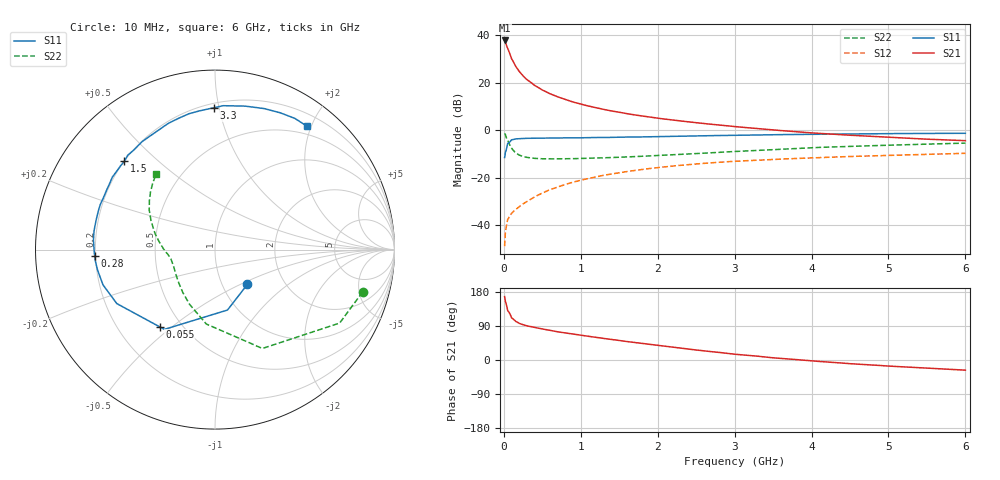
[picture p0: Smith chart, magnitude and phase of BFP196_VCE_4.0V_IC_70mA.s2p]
! Infineon Technologies  Discrete & RF Semiconductors
! BFP196
! VCE = 4.0 V,  IC =  70mA
! Common Emitter S-Parameters:  Jan 2016
# GHz  S  MA  R  50
!  f  S11  S21  S12  S22
! GHz  MAG  ANG  MAG  ANG  MAG  ANG  MAG  ANG
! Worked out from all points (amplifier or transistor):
!   210 points, 10 MHz to 6 GHz, reference 50 ohm
!   highest |S21| = 37.8 dB at 10 MHz (marker M1)
!   |S21| within 3 dB of that: start of sweep to 45.33 MHz
!   unconditionally stable (mu >= 1): 409.2 MHz to 4.478 GHz
!   at 185 MHz: K = 0.78, MSG = 29.0 dB, |S12| = -32.6 dB
!   at 1.52 GHz: K = 1.08, MAG = 10.9 dB, |S12| = -17.8 dB
!   at 6 GHz: K = 0.98, MSG = 2.7 dB, |S12| = -9.8 dB
!   S11 on the Smith chart (normalised r, x): 10 MHz: 1.31, -0.55; 55 MHz: 0.38, -0.45; 280 MHz: 0.20, -0.02; 1.5 GHz: 0.20, +0.39; 3.3 GHz: 0.23, +0.96; 6 GHz: 0.37, +1.94
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0.01  0.2649 -47.2  77.34 167.2  0.0036 75.6  0.8557 -16.0
0.02  0.3438 -78.3  71.38 154.9  0.007 72.0  0.8062 -30.5
0.05  0.5264 -122.4  52.62 130.5  0.0131 56.0  0.6109 -64.4
0.055  0.5293 -125.7  50.41 129.3  0.0135 55.2  0.5856 -66.6
0.1  0.6243 -151.2  32.15 111.3  0.0176 49.7  0.4177 -96.6
0.15  0.6541 -162.5  22.49 102.3  0.0212 51.5  0.3364 -114.9
0.2  0.664 -170.0  17.19 96.7  0.0243 54.9  0.2988 -126.9
0.24  0.6688 -174.0  14.47 93.8  0.0273 56.5  0.2812 -133.9
0.28  0.6715 -177.1  12.46 91.3  0.03 59.0  0.2706 -139.3
0.3  0.6726 -178.5  11.57 90.1  0.0314 60.3  0.2666 -141.7
0.4  0.6792 175.6  8.745 85.7  0.0393 61.8  0.2547 -150.6
0.5  0.6821 171.2  6.995 81.8  0.0472 63.9  0.2494 -156.2
0.6  0.6822 166.5  5.843 78.1  0.0556 64.5  0.2484 -160.2
0.7  0.6844 162.4  5.021 74.3  0.0633 64.3  0.2487 -163.1
1.02  0.6894 150.8  3.463 64.8  0.0896 61.8  0.2534 -169.4
1.5  0.7048 135.7  2.386 51.5  0.1268 56.0  0.269 -175.6
2.02  0.7279 120.8  1.768 38.2  0.1638 48.0  0.2932 177.2
3.1  0.7808 94.5  1.149 13.6  0.2249 31.9  0.3612 161.4
3.3  0.7901 90.5  1.076 10.0  0.2334 29.0  0.3754 158.5
4.1  0.8189 76.6  0.855 -3.8  0.264 19.0  0.4325 147.9
5.1  0.8461 63.2  0.694 -17.1  0.2974 7.8  0.4865 137.2
6  0.8575 53.3  0.6 -26.8  0.3249 -2.1  0.5325 128.1
